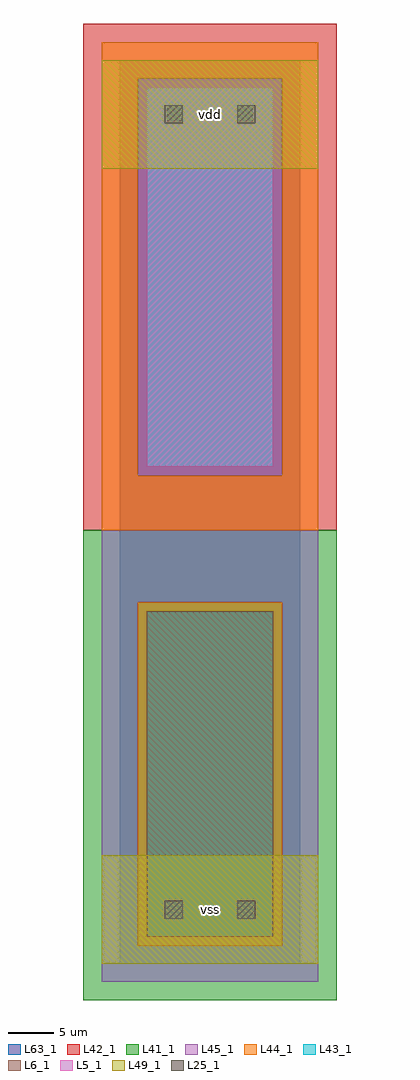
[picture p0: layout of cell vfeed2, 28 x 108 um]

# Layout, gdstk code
import gdstk
lib = gdstk.Library(unit=1e-6, precision=1e-09)
def R(c, l, rs):  # rectangles x0, y0, x1, y1
    for r in rs: c.add(gdstk.rectangle(r[:2], r[2:], *l))
L5_1 = (5, 1)
L6_1 = (6, 1)
L25_1 = (25, 1)
L41_1 = (41, 1)
L42_1 = (42, 1)
L43_1 = (43, 1)
L44_1 = (44, 1)
L45_1 = (45, 1)
L49_1 = (49, 1)
L63_1 = (63, 1)

vfeed2 = lib.new_cell('vfeed2')
R(vfeed2, L5_1, [(3,55,17,97)])
R(vfeed2, L6_1, [(3,3,17,39), (3,3,17,39)])
R(vfeed2, L25_1, [(5,5,7,7), (13,5,15,7), (5,93,7,95), (13,93,15,95)])
R(vfeed2, L41_1, [(-4,-4,24,48)])
R(vfeed2, L42_1, [(-4,48,24,104)])
R(vfeed2, L43_1, [(3,3,17,39), (3,55,17,97)])
R(vfeed2, L44_1, [(2,2,18,40), (-2,48,22,54), (-2,54,2,98), (18,54,22,98), (-2,98,22,102)])
R(vfeed2, L45_1, [(-2,-2,22,2), (-2,2,2,40), (18,2,22,40), (-2,40,22,48), (2,54,18,98)])
R(vfeed2, L49_1, [(-2,0,22,12), (-2,88,22,100)])
R(vfeed2, L63_1, [(0,0,20,100)])
vfeed2.add(gdstk.Label('vss', (10,6), layer=49, texttype=1))
vfeed2.add(gdstk.Label('vdd', (10,94), layer=49, texttype=1))

lib.write_gds('vfeed2.gds')
